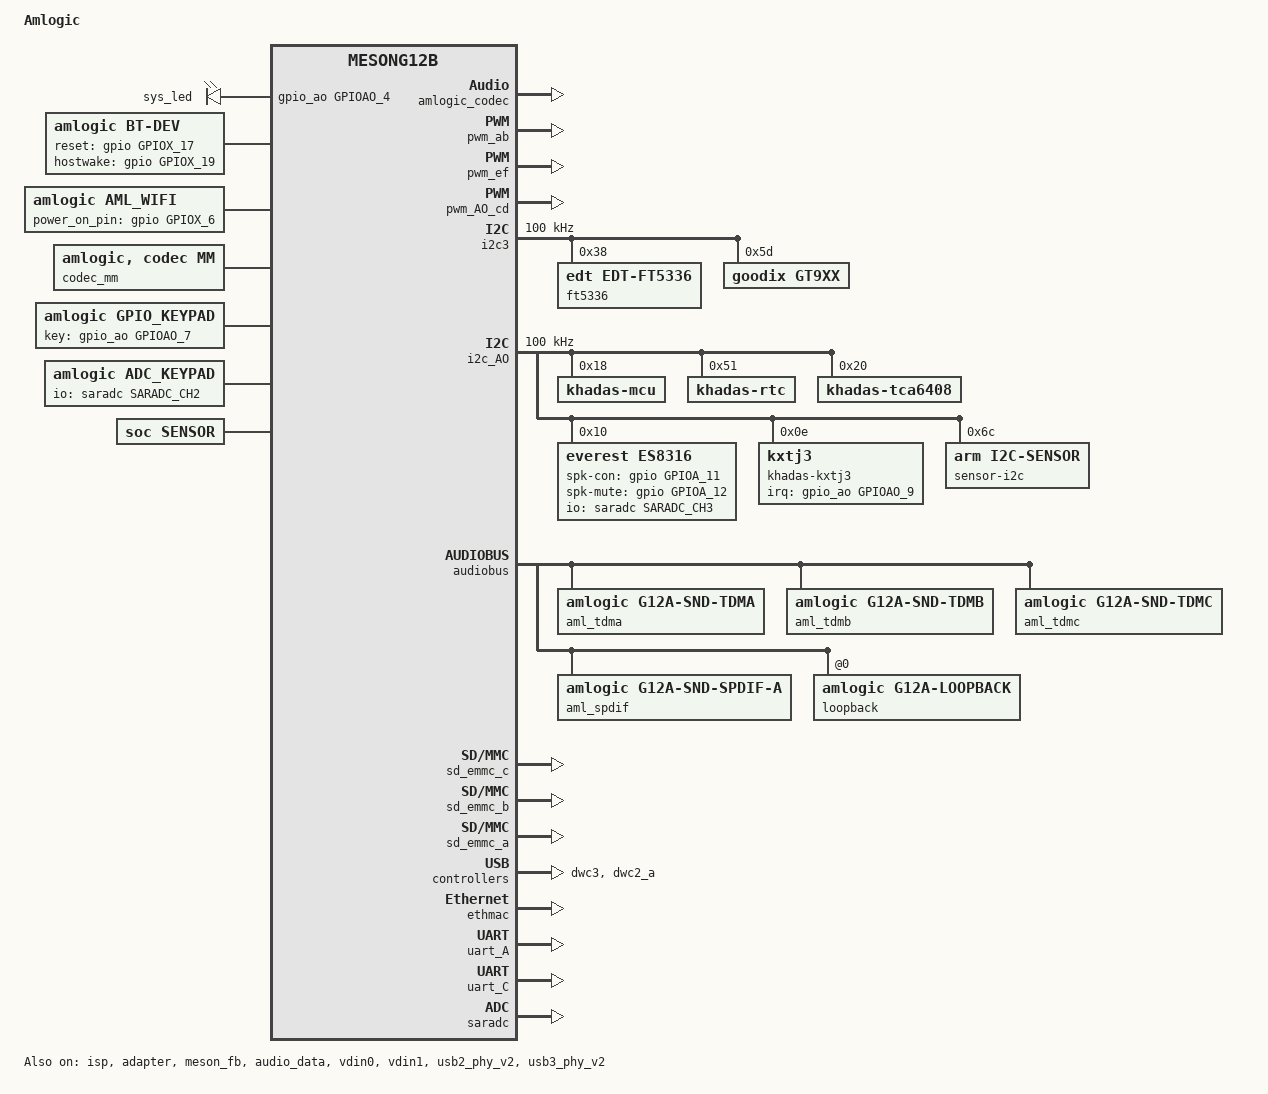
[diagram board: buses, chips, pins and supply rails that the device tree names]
/*
 * arch/arm64/boot/dts/amlogic/g12b_a311d_w400.dts
 *
 * Copyright (C) 2017 Amlogic, Inc. All rights reserved.
 *
 * This program is free software; you can redistribute it and/or modify
 * it under the terms of the GNU General Public License as published by
 * the Free Software Foundation; either version 2 of the License, or
 * (at your option) any later version.
 *
 * This program is distributed in the hope that it will be useful, but WITHOUT
 * ANY WARRANTY; without even the implied warranty of MERCHANTABILITY or
 * FITNESS FOR A PARTICULAR PURPOSE.  See the GNU General Public License for
 * more details.
 *
 */

/dts-v1/;

#include "partition_mbox_normal_P_64.dtsi"
#include "mesong12b.dtsi"
#include "mesong12b_skt-panel.dtsi"
/ {
	model = "Amlogic";
	amlogic-dt-id = "g12b_w400_b";
	compatible = "amlogic, g12b";
	interrupt-parent = <&gic>;
	#address-cells = <2>;
	#size-cells = <2>;

	aliases {
		serial0 = &uart_AO;
		serial1 = &uart_A;
		serial2 = &uart_B;
		serial3 = &uart_C;
		serial4 = &uart_AO_B;
		i2c0 = &i2c0;
		i2c1 = &i2c1;
		i2c2 = &i2c2;
		i2c3 = &i2c3;
		i2c4 = &i2c_AO;
		tsensor0 = &p_tsensor;
		tsensor1 = &d_tsensor;
	};

	reserved-memory {
		#address-cells = <2>;
		#size-cells = <2>;
		ranges;
		/* global autoconfigured region for contiguous allocations */
		ramoops@0x07400000 {
			compatible = "ramoops";
			reg = <0x0 0x07400000 0x0 0x00100000>;
			record-size = <0x8000>;
			console-size = <0x8000>;
			ftrace-size = <0x40000>;
		};

		secmon_reserved:linux,secmon {
			compatible = "shared-dma-pool";
			reusable;
			size = <0x0 0x400000>;
			alignment = <0x0 0x400000>;
			alloc-ranges = <0x0 0x05000000 0x0 0x400000>;
			clear-map;
		};

		secos_reserved:linux,secos {
			status = "disable";
			compatible = "amlogic, aml_secos_memory";
			reg = <0x0 0x05300000 0x0 0x2000000>;
			no-map;
		};
		logo_reserved:linux,meson-fb {
			compatible = "shared-dma-pool";
			reusable;
			size = <0x0 0x800000>;
			alignment = <0x0 0x400000>;
			alloc-ranges = <0x0 0x7f800000 0x0 0x800000>;
		};
		ion_cma_reserved:linux,ion-dev {
			compatible = "shared-dma-pool";
			reusable;
			size = <0x0 0x8000000>;
			alignment = <0x0 0x400000>;
		};

		//di_reserved:linux,di {
			//compatible = "amlogic, di-mem";
			/* buffer_size = 3621952(yuv422 8bit) */
			/* 4179008(yuv422 10bit full pack mode) */
			/** 10x3621952=34.6M(0x23) support 8bit **/
			/** 10x4736064=45.2M(0x2e) support 12bit **/
			/** 10x4179008=40M(0x28) support 10bit **/
			//size = <0x0 0x2800000>;
			//no-map;
		//};
		/*di CMA pool */
		di_cma_reserved:linux,di_cma {
			compatible = "shared-dma-pool";
			reusable;
			/* buffer_size = 3621952(yuv422 8bit)
			 *  | 4736064(yuv422 10bit)
			 *  | 4074560(yuv422 10bit full pack mode)
			 * 10x3621952=34.6M(0x23) support 8bit
			 * 10x4736064=45.2M(0x2e) support 12bit
			 * 10x4074560=40M(0x28) support 10bit
			 */
			size = <0x0 0x02800000>;
			alignment = <0x0 0x400000>;
		};
		/*  POST PROCESS MANAGER */
		ppmgr_reserved:linux,ppmgr {
			compatible = "shared-dma-pool";
			size = <0x0 0x0>;
		};

		codec_mm_cma:linux,codec_mm_cma {
			compatible = "shared-dma-pool";
			reusable;
			/* ion_codec_mm max can alloc size 80M*/
			size = <0x0 0x13400000>;
			alignment = <0x0 0x400000>;
			linux,contiguous-region;
			clear-map;
		};
		/* codec shared reserved */
		codec_mm_reserved:linux,codec_mm_reserved {
			compatible = "amlogic, codec-mm-reserved";
			size = <0x0 0x0>;
			alignment = <0x0 0x100000>;
			//no-map;
		};
		/*  vdin0 CMA pool */
		vdin0_cma_reserved:linux,vdin0_cma {
			compatible = "shared-dma-pool";
			reusable;
		/* 1920x1080x2x4  =16+4 M */
			size = <0x0 0x04000000>;
			alignment = <0x0 0x400000>;
		};
		/*  vdin1 CMA pool */
		vdin1_cma_reserved:linux,vdin1_cma {
			compatible = "shared-dma-pool";
			reusable;
			/* 1920x1080x2x4  =16 M */
			size = <0x0 0x04000000>;
			alignment = <0x0 0x400000>;
		};
		galcore_reserved:linux,galcore {
			compatible = "shared-dma-pool";
			reusable;
			size = <0x0 0x1000000>;
			alignment = <0x0 0x400000>;
			linux,contiguous-region;
		};
		isp_cma_reserved:linux,isp_cma {
			compatible = "shared-dma-pool";
			reusable;
			status = "okay";
			size = <0x0 0x8000000>;
			alignment = <0x0 0x400000>;
		};
		adapt_cma_reserved:linux,adapt_cma {
			compatible = "shared-dma-pool";
			reusable;
			status = "okay";
			size = <0x0 0x1800000>;
			alignment = <0x0 0x400000>;
		};
	};
	galcore {
		status = "okay";
		memory-region = <&galcore_reserved>;
	};

	gpioleds {
		compatible = "gpio-leds";
		status = "okay";
		sys_led {
			label="sys_led";
			gpios=<&gpio_ao GPIOAO_4 GPIO_ACTIVE_HIGH>;
			default-state ="on";
		};
	};

	cvbsout {
		compatible = "amlogic, cvbsout-g12b";
		dev_name = "cvbsout";
		status = "okay";
		clocks = <&clkc CLKID_VCLK2_ENCI
			&clkc CLKID_VCLK2_VENCI0
			&clkc CLKID_VCLK2_VENCI1
			&clkc CLKID_DAC_CLK>;
		clock-names = "venci_top_gate",
			"venci_0_gate",
			"venci_1_gate",
			"vdac_clk_gate";
		/* clk path */
		/* 0:vid_pll vid2_clk */
		/* 1:gp0_pll vid2_clk */
		/* 2:vid_pll vid1_clk */
		/* 3:gp0_pll vid1_clk */
		clk_path = <2>;

		/* performance: reg_address, reg_value */
		/* g12b */
		performance = <0x1bf0  0x9
			0x1b56  0x333
			0x1b12  0x8080
			0x1b05  0xfd
			0x1c59  0xf850
			0xffff  0x0>; /* ending flag */
		performance_sarft = <0x1bf0  0x9
			0x1b56  0x333
			0x1b12  0x0
			0x1b05  0x9
			0x1c59  0xfc48
			0xffff  0x0>; /* ending flag */
	};

	bt-dev{
		compatible = "amlogic, bt-dev";
		dev_name = "bt-dev";
		status = "okay";
		gpio_reset = <&gpio GPIOX_17 GPIO_ACTIVE_HIGH>;
		gpio_hostwake = <&gpio GPIOX_19 GPIO_ACTIVE_HIGH>;
	};

	wifi{
		compatible = "amlogic, aml_wifi";
		dev_name = "aml_wifi";
		status = "okay";
		interrupt_pin = <&gpio GPIOX_7 GPIO_ACTIVE_HIGH>;
		irq_trigger_type = "GPIO_IRQ_LOW";
		power_on_pin = <&gpio GPIOX_6 GPIO_ACTIVE_HIGH>;
		dhd_static_buf;	//if use bcm wifi, config dhd_static_buf
		pinctrl-names = "default";
		pinctrl-0 = <&pwm_e_pins>;
		pwm_config = <&wifi_pwm_conf>;
	};

	wifi_pwm_conf:wifi_pwm_conf{
		pwm_channel1_conf {
			pwms = <&pwm_ef MESON_PWM_0 30541 0>;
			duty-cycle = <15270>;
			times = <10>;
		};
		pwm_channel2_conf {
			pwms = <&pwm_ef MESON_PWM_2 30500 0>;
			duty-cycle = <15250>;
			times = <12>;
		};
	};

	picdec_cma_reserved:linux,picdec {
		compatible = "shared-dma-pool";
		reusable;
		size = <0x0>;
		alignment = <0x0>;
		linux,contiguous-region;
	};

	codec_mm {
		compatible = "amlogic, codec, mm";
		memory-region = <&codec_mm_cma &codec_mm_reserved>;
		dev_name = "codec_mm";
		status = "okay";
	};

	picdec {
		compatible = "amlogic, picdec";
		memory-region = <&picdec_cma_reserved>;
		dev_name = "picdec";
		status = "okay";
	};

	ppmgr {
		compatible = "amlogic, ppmgr";
		memory-region = <&ppmgr_reserved>;
		dev_name = "ppmgr";
		status = "okay";
	};

	deinterlace {
		compatible = "amlogic, deinterlace";
		status = "okay";
		/* 0:use reserved; 1:use cma; 2:use cma as reserved */
		flag_cma = <1>;
		//memory-region = <&di_reserved>;
		memory-region = <&di_cma_reserved>;
		interrupts = <0 46 1
				0 40 1>;
		interrupt-names = "pre_irq", "post_irq";
		clocks = <&clkc CLKID_VPU_CLKB_TMP_COMP>,
			<&clkc CLKID_VPU_CLKB_COMP>;
		clock-names = "vpu_clkb_tmp_composite",
			"vpu_clkb_composite";
		clock-range = <334 667>;
		/* buffer-size = <3621952>;(yuv422 8bit) */
		buffer-size = <4074560>;/*yuv422 fullpack*/
		/* reserve-iomap = "true"; */
		/* if enable nr10bit, set nr10bit-support to 1 */
		post-wr-support = <1>;
		nr10bit-support = <1>;
		nrds-enable = <1>;
		pps-enable = <1>;
	};
	ionvideo {
		compatible = "amlogic, ionvideo";
		dev_name = "ionvideo";
		status = "okay";
	};

	amlvideo2_0 {
		compatible = "amlogic, amlvideo2";
		dev_name = "amlvideo2";
		status = "okay";
		amlvideo2_id = <0>;
		cma_mode = <1>;
	};

	amlvideo2_1 {
		compatible = "amlogic, amlvideo2";
		dev_name = "amlvideo2";
		status = "okay";
		amlvideo2_id = <1>;
		cma_mode = <1>;
	};

	gpio_keypad {
		compatible = "amlogic, gpio_keypad";
		status = "okay";
		scan_period = <20>;
		key_num = <1>;
		key_name = "power";
		key_code = <116>;
		key-gpios = <&gpio_ao  GPIOAO_7  GPIO_ACTIVE_HIGH>;
		detect_mode = <0>;/*0:polling mode, 1:irq mode*/
	};

	adc_keypad {
		compatible = "amlogic, adc_keypad";
		status = "okay";
		key_name = "home";
		key_num = <1>;
		io-channels = <&saradc SARADC_CH2>;
		io-channel-names = "key-chan-2";
		key_chan = <SARADC_CH2 SARADC_CH2 SARADC_CH2>;
		key_code = <102>;
		key_val = <108>;//val=voltage/1800mV*1023
		key_tolerance = <40>;
	};
        
        khadas-hwver {
                compatible = "khadas-hwver";
                tca6408status = "okay";
        };

        khadas-redled {
               compatible = "khadas-redled";
               status = "okay";
        };

	unifykey{
		compatible = "amlogic, unifykey";
		status = "ok";
		unifykey-num = <18>;
		unifykey-index-0 = <&keysn_0>;
		unifykey-index-1 = <&keysn_1>;
		unifykey-index-2 = <&keysn_2>;
		unifykey-index-3 = <&keysn_3>;
		unifykey-index-4 = <&keysn_4>;
		unifykey-index-5 = <&keysn_5>;
		unifykey-index-6 = <&keysn_6>;
		unifykey-index-7 = <&keysn_7>;
		unifykey-index-8 = <&keysn_8>;
		unifykey-index-9 = <&keysn_9>;
		unifykey-index-10= <&keysn_10>;
		unifykey-index-11= <&keysn_11>;
		unifykey-index-12= <&keysn_12>;
		unifykey-index-13= <&keysn_13>;
		unifykey-index-14= <&keysn_14>;
		unifykey-index-15= <&keysn_15>;
		unifykey-index-16= <&keysn_16>;
                unifykey-index-17= <&keysn_17>;

		keysn_0: key_0{
			key-name = "usid";
			key-device = "normal";
			key-permit = "read","write","del";
		};
		keysn_1:key_1{
			key-name = "mac";
			key-device = "normal";
			key-permit = "read","write","del";
		};
		keysn_2:key_2{
			key-name = "hdcp";
			key-device = "secure";
			key-type = "sha1";
			key-permit = "read","write","del";
		};
		keysn_3:key_3{
			key-name = "secure_boot_set";
			key-device = "efuse";
			key-permit = "write";
		};
		keysn_4:key_4{
			key-name = "mac_bt";
			key-device = "normal";
			key-permit = "read","write","del";
			key-type  = "mac";
		};
		keysn_5:key_5{
			key-name = "mac_wifi";
			key-device = "normal";
			key-permit = "read","write","del";
			key-type = "mac";
		};
		keysn_6:key_6{
			key-name = "hdcp2_tx";
			key-device = "normal";
			key-permit = "read","write","del";
		};
		keysn_7:key_7{
			key-name = "hdcp2_rx";
			key-device = "normal";
			key-permit = "read","write","del";
		};
		keysn_8:key_8{
			key-name = "widevinekeybox";
			key-device = "secure";
			key-permit = "read","write","del";
		};
		keysn_9:key_9{
			key-name = "deviceid";
			key-device = "normal";
			key-permit = "read","write","del";
		};
		keysn_10:key_10{
			key-name = "hdcp22_fw_private";
			key-device = "secure";
			key-permit = "read","write","del";
		};
		keysn_11:key_11{
			key-name = "PlayReadykeybox25";
			key-device = "secure";
			key-permit = "read","write","del";
		};
		keysn_12:key_12{
			key-name = "prpubkeybox";// PlayReady
			key-device = "secure";
			key-permit = "read","write","del";
		};
		keysn_13:key_13{
			key-name = "prprivkeybox";// PlayReady
			key-device = "secure";
			key-permit = "read","write","del";
		};
		keysn_14:key_14{
			key-name = "attestationkeybox";// attestation key
			key-device = "secure";
			key-permit = "read","write","del";
		};
		keysn_15:key_15{
			key-name = "netflix_mgkid";
			key-device = "secure";
			key-permit = "read","write","del";
		};
		keysn_16:key_16{
			key-name = "attestationdevidbox";// attest dev id box
			key-device = "secure";
			key-permit = "read","write","del";
		};
                keysn_17:key_17{
                        key-name = "eth_exphy_para";
                        key-device = "normal";
                        key-permit = "read","write","del";
                };
	};//End unifykey

	efusekey:efusekey{
		keynum = <1>;
		key0 = <&key_0>;
		key_0:key_0{
			keyname = "mac";
			offset = <0>;
			size = <12>;
		};
	};//End efusekey

	amlvecm {
		compatible = "amlogic, vecm";
		dev_name = "aml_vecm";
		status = "okay";
		gamma_en = <1>;/*1:enabel ;0:disable*/
		wb_en = <0>;/*1:enabel ;0:disable*/
		cm_en = <0>;/*1:enabel ;0:disable*/

		interrupts = <0 56 1>;
		interrupt-names = "vsync2";
	};
	amdolby_vision {
		compatible = "amlogic, dolby_vision_g12a";
		dev_name = "aml_amdolby_vision_driver";
		status = "okay";
		tv_mode = <0>;/*1:enabel ;0:disable*/
	};

	/* Audio Related start */
	pdm_codec:dummy{
		#sound-dai-cells = <0>;
		compatible = "amlogic, pdm_dummy_codec";
		status = "okay";
	};
	dummy_codec:dummy{
		#sound-dai-cells = <0>;
		compatible = "amlogic, aml_dummy_codec";
		status = "okay";
	};
	amlogic_codec:t9015{
		#sound-dai-cells = <0>;
		compatible = "amlogic, aml_codec_T9015";
		reg = <0x0 0xFF632000 0x0 0x2000>;
		is_auge_used = <1>; /* meson or auge chipset used */
		tdmout_index = <1>;
		status = "okay";
	};
	audio_effect:eqdrc{
		/*eq_enable = <1>;*/
		/*drc_enable = <1>;*/
		/*
		 * 0:tdmout_a
		 * 1:tdmout_b
		 * 2:tdmout_c
		 * 3:spdifout
		 * 4:spdifout_b
		 */
		eqdrc_module = <1>;
		/* max 0xf, each bit for one lane, usually one lane */
		lane_mask = <0x1>;
		/* max 0xff, each bit for one channel */
		channel_mask = <0x3>;
	};
	auge_sound {
		compatible = "amlogic, g12a-sound-card";
		aml-audio-card,name = "AML-AUGESOUND";


		//aml-audio-card,aux-devs = <&amlogic_codec>;
		/*for audio effect ,eqdrc */
		aml-audio-card,effect = <&audio_effect>;

		aml-audio-card,dai-link@0 {
			format = "dsp_a";
			mclk-fs = <512>;
			//continuous-clock;
			//bitclock-inversion;
			//frame-inversion;
			//bitclock-master = <&tdmacodec>;
			//frame-master = <&tdmacodec>;
			/* suffix-name, sync with android audio hal
			 * what's the dai link used for
			 */
			suffix-name = "alsaPORT-pcm";
			tdmacpu: cpu {
				sound-dai = <&aml_tdma>;
				dai-tdm-slot-tx-mask =
							<1 0 0 0 0 0 0 0>;
				dai-tdm-slot-rx-mask =
							<1 0 0 0 0 0 0 0>;
				dai-tdm-slot-num = <8>;
				dai-tdm-slot-width = <32>;
				system-clock-frequency = <24576000>;
			};
			tdmacodec: codec {
				sound-dai = <&dummy_codec &dummy_codec>;
			};
		};

		aml-audio-card,dai-link@1 {
			format = "i2s";
			mclk-fs = <256>;
			continuous-clock;
			//bitclock-inversion;
			//frame-inversion;
			bitclock-master = <&aml_tdmb>;
			frame-master = <&aml_tdmb>;
			//bitclock-master = <&tdmbcodec>;
			//frame-master = <&tdmbcodec>;
			/* suffix-name, sync with android audio hal
			 * what's the dai link used for
			 */
			suffix-name = "alsaPORT-i2s";
			cpu {
				sound-dai = <&aml_tdmb>;
				dai-tdm-slot-tx-mask = <1 1>;
				dai-tdm-slot-rx-mask = <1 1>;
				dai-tdm-slot-num = <2>;
				dai-tdm-slot-width = <32>;
				system-clock-frequency = <12288000>;
			};
			tdmbcodec: codec {
				sound-dai = <&dummy_codec &dummy_codec
				&amlogic_codec &es8316>;
			};
		};

		aml-audio-card,dai-link@2 {
			format = "i2s";
			mclk-fs = <256>;
			//continuous-clock;
			//bitclock-inversion;
			//frame-inversion;
			bitclock-master = <&aml_tdmc>;
			frame-master = <&aml_tdmc>;
			/* suffix-name, sync with android audio hal
			 * what's the dai link used for
			 */
			//suffix-name = "alsaPORT-tdm";
			cpu {
				sound-dai = <&aml_tdmc>;
				dai-tdm-slot-tx-mask = <1 1>;
				dai-tdm-slot-rx-mask = <1 1>;
				dai-tdm-slot-num = <2>;
				dai-tdm-slot-width = <32>;
				system-clock-frequency = <12288000>;
			};
			codec {
				sound-dai = <&dummy_codec &dummy_codec>;
			};
		};

		aml-audio-card,dai-link@3 {
			mclk-fs = <128>;
			continuous-clock;
			/* suffix-name, sync with android audio hal
			 * what's the dai link used for
			 */
			suffix-name = "alsaPORT-spdif";
			cpu {
				sound-dai = <&aml_spdif>;
				system-clock-frequency = <6144000>;
			};
			codec {
				sound-dai = <&dummy_codec>;
			};
		};
		aml-audio-card,dai-link@4 {
			mclk-fs = <256>;
			continuous-clock;
			suffix-name = "alsaPORT-loopback";
			cpu {
				sound-dai = <&loopback>;
				system-clock-frequency = <12288000>;
			};
			codec {
				sound-dai = <&dummy_codec>;
			};
		};
	};
	audiolocker: locker {
		compatible = "amlogic, audiolocker";
		clocks = <&clkaudio CLKID_AUDIO_LOCKER_OUT
				&clkaudio CLKID_AUDIO_LOCKER_IN
				&clkaudio CLKID_AUDIO_MCLK_D
				&clkaudio CLKID_AUDIO_MCLK_E
				&clkc CLKID_MPLL1
				&clkc CLKID_MPLL2>;
		clock-names = "lock_out", "lock_in", "out_src",
					"in_src", "out_calc", "in_ref";
		interrupts = <GIC_SPI 1 IRQ_TYPE_EDGE_RISING>;
		interrupt-names = "irq";
		frequency = <49000000>; /* pll */
		dividor = <49>; /* locker's parent */
		status = "okay";
	};
	/* Audio Related end */

	cpu_opp_table0: cpu_opp_table0 {
		compatible = "operating-points-v2";
		opp-shared;

		opp00 {
			opp-hz = /bits/ 64 <500000000>;
			opp-microvolt = <770000>;
		};
		opp01 {
			opp-hz = /bits/ 64 <667000000>;
			opp-microvolt = <770000>;
		};
		opp02 {
			opp-hz = /bits/ 64 <1000000000>;
			opp-microvolt = <770000>;
		};
		opp03 {
			opp-hz = /bits/ 64 <1200000000>;
			opp-microvolt = <770000>;
		};
		opp04 {
			opp-hz = /bits/ 64 <1398000000>;
			opp-microvolt = <800000>;
		};
		opp05 {
			opp-hz = /bits/ 64 <1512000000>;
			opp-microvolt = <840000>;
		};
		opp06 {
			opp-hz = /bits/ 64 <1608000000>;
			opp-microvolt = <880000>;
		};
		opp07 {
			opp-hz = /bits/ 64 <1704000000>;
			opp-microvolt = <910000>;
		};
	};

	cpu_opp_table1: cpu_opp_table1 {
		compatible = "operating-points-v2";
		opp-shared;

		opp00 {
			opp-hz = /bits/ 64 <500000000>;
			opp-microvolt = <790000>;
		};
		opp01 {
			opp-hz = /bits/ 64 <667000000>;
			opp-microvolt = <790000>;
		};
		opp02 {
			opp-hz = /bits/ 64 <1000000000>;
			opp-microvolt = <810000>;
		};
		opp03 {
			opp-hz = /bits/ 64 <1200000000>;
			opp-microvolt = <810000>;
		};
		opp04 {
			opp-hz = /bits/ 64 <1398000000>;
			opp-microvolt = <830000>;
		};
		opp05 {
			opp-hz = /bits/ 64 <1512000000>;
			opp-microvolt = <870000>;
		};
		opp06 {
			opp-hz = /bits/ 64 <1608000000>;
			opp-microvolt = <910000>;
		};
		opp07 {
			opp-hz = /bits/ 64 <1704000000>;
			opp-microvolt = <940000>;
		};
	};

	cpufreq-meson {
		compatible = "amlogic, cpufreq-meson";
		status = "okay";
	};

	sensor: sensor {
		compatible = "soc, sensor";
		status = "okay";
		sensor_name = "os08a10"; /*os08a10;imx415*/
		pinctrl-names="default";
		pinctrl-0=<&gen_clk_ee_ao>;
		clocks = <&clkc CLKID_GEN_CLK>;
		clock-names = "gen_clk";
	};

	iq: iq {
		compatible = "soc, iq";
		status = "okay";
		sensor_name = "os08a10"; /*os08a10;imx415*/
	};
}; /* end of / */

&isp {
	status = "okay";
	temper-line-offset = <0x1E00>;
	temper-buf-size = <32>;
	temper-frame-num = <1>;
	temper-frame-size = <0x1FA4000>;
	memory-region = <&isp_cma_reserved>;
};

&adapter {
	status = "okay";
	mem_alloc = <24>;
	memory-region = <&adapt_cma_reserved>;
};

&meson_fb {
	status = "okay";
	display_size_default = <1080 1920 1080 3840 32>;
	mem_size = <0x00800000 0x1980000 0x100000 0x100000 0x800000>;
	logo_addr = "0x7f800000";
	mem_alloc = <0>;
	pxp_mode = <0>; /** 0:normal mode 1:pxp mode */
};

&pwm_ab {
		status = "okay";
	};

&pwm_ef {
		status = "okay";
	};

&pwm_AO_cd {
		status = "okay";
	};

&i2c3 {
        status = "okay";
        pinctrl-names="default";
        pinctrl-0=<&i2c3_master_pins2>;
        clock-frequency = <100000>; /* default 100k */

        ft5336@38 {
               compatible = "edt,edt-ft5336", "ft5x06";
               reg = <0x38>;
               interrupt_pin = <&gpio GPIOA_5 GPIO_ACTIVE_HIGH>;
               reset_pin = <6>;
               status = "okay";
       };

		gt9xx@5d {
			compatible = "goodix,gt9xx";
			status = "okay";
			reg = <0x5d>;
			reset_pin = <6>;
			tp-size = <89>;
			rotation = <1>;
			goodix,cfg-group0 = [
				00 80 07 B0 04 0A 3D 00 01 08 28
				05 3C 3C 03 05 00 00 00 00 23 13
				00 17 19 1C 13 90 30 AA 17 15 31
				0D 00 00 01 9B 03 2C 00 00 00 00
				00 00 00 00 00 00 00 0F 23 94 D0
				02 07 00 00 04 A3 10 00 8C 13 00
				7B 16 00 69 1B 00 5B 20 00 5B 00
				00 00 00 00 00 00 00 00 00 00 00
				00 00 00 00 00 00 00 00 00 00 00
				00 00 00 00 00 00 00 00 00 00 00
				00 00 00 01 04 05 06 07 08 09 0C
				0D 0E 0F 10 11 14 15 16 17 18 19
				FF FF FF FF FF FF FF FF FF FF 00
				02 04 06 07 08 0A 0C 0D 0E 0F 10
				11 12 13 14 19 1B 1C 1E 1F 20 21
				22 23 24 25 26 27 28 29 2A FF FF
				FF FF FF FF FF FF FF FF 8F 01];
		};

	   bq25703 {
                 compatible = "bq25703";
                reg = <0x6b>;
                irq-gpio = <&gpio GPIOZ_15 IRQ_TYPE_LEVEL_LOW>;
                ti,charge-current = <1500000>;
                ti,max-charge-voltage = <8500000>;
                ti,max-input-voltage = <20000000>;
                ti,max-input-current = <6000000>;
                ti,input-current-sdp = <500000>;
                ti,input-current-dcp = <2000000>;
                ti,input-current-cdp = <2000000>;
                ti,input-current-dc = <2000000>;
                ti,minimum-sys-voltage = <7400000>;
                ti,otg-voltage = <5000000>;
                ti,otg-current = <500000>;
                ti,input-current = <500000>;
                pd-charge-only = <0>;
                status = "disabled";
        };

       cw201x {
                status = "disabled";
                compatible = "cw201x";
                reg = <0x62>;
                bat_config_info = <0x15 0x7F 0x6E 0x66 0x65 0x5C 0x5B 0x59
                                0x58 0x57 0x57 0x54 0x53 0x51 0x4B 0x48
                                0x40 0x33 0x2A 0x26 0x23 0x25 0x2A 0x34
                                0x45 0x4F 0x0C 0xCD 0x44 0x68 0x67 0x68
                                0x6E 0x6F 0x6C 0x68 0x3A 0x10 0x8A 0x01
                                0x01 0x54 0x52 0x87 0x8F 0x91 0x94 0x52
                                0x82 0x8C 0x92 0x96 0x82 0xFF 0xFF 0xCB
                                0x2F 0x7D 0x64 0xA5 0xB5 0x13 0x58 0x09>;
                monitor_sec = <5>;
                virtual_power = <0>;
                divider_res1 = <200>;
                divider_res2 = <200>;
        };

};


&i2c_AO {
       status = "okay";
       pinctrl-names="default";
       pinctrl-0=<&ao_i2c_master_pins1>;
       clock-frequency = <100000>; /* default 100k */
       khadas-mcu {
               compatible = "khadas-mcu";
               reg = <0x18>;
               fan,trig_temp_level0 = <50>;
               fan,trig_temp_level1 = <60>;
               fan,trig_temp_level2 = <65>;
               fan,trig_temp_level3 = <70>;
               hwver = "VIM3.V11";
       };
       khadas-rtc {
                compatible = "khadas-rtc";
                reg = <0x51>;
       };

       khadas-tca6408 {
                compatible = "khadas-tca6408";
                reg = <0x20>;
       };
	   es8316: es8316@10 {
                compatible = "everest,es8316";
                #sound-dai-cells = <0>;
                reg = <0x10>;
                status = "okay";
                spk-con-gpio = <&gpio GPIOA_11 0>;
                spk-mute-gpio = <&gpio GPIOA_12 0>;
                io-channels = <&saradc SARADC_CH3>;
                hp_chan = <SARADC_CH3>;
                hp_val = <784>; //val=voltage/1800mV*1023
                hp_tolerance = <50>;
        };
       khadas-kxtj3 {
                compatible = "kxtj3";
                reg = <0x0E>;
                type = <2>;
                layout = <4>;
                irq_enable = <0>;
                poll_delay_ms = <30>;
                irq-gpio = <&gpio_ao GPIOAO_9 IRQ_TYPE_EDGE_RISING>;
                status = "okay";
        };
	sensor-i2c@6c {
		compatible = "arm, i2c-sensor";
		reg = <0x6c>;
		reg-names = "i2c-sensor";
		slave-addr = <0x6c>;
		reg-type = <2>;
		reg-data-type = <1>;
		link-device = <&phycsi>;
	};
};

&audiobus {
	aml_tdma: tdma {
		compatible = "amlogic, g12a-snd-tdma";
		#sound-dai-cells = <0>;
		dai-tdm-lane-slot-mask-in = <0 1>;
		dai-tdm-lane-oe-slot-mask-out = <1 0>;
		dai-tdm-clk-sel = <0>;
		clocks = <&clkaudio CLKID_AUDIO_MCLK_A
				&clkc CLKID_MPLL0>;
		clock-names = "mclk", "clk_srcpll";
		pinctrl-names = "tdm_pins";
		pinctrl-0 = <&tdmout_a &tdmin_a>;
	};

	aml_tdmb: tdmb {
		compatible = "amlogic, g12a-snd-tdmb";
		#sound-dai-cells = <0>;
		dai-tdm-lane-slot-mask-in = <0 1 0 0>;
		dai-tdm-lane-slot-mask-out = <1 0 0 0>;
		dai-tdm-clk-sel = <1>;
		clocks = <&clkaudio CLKID_AUDIO_MCLK_B
				&clkc CLKID_MPLL1
				&clkc CLKID_MPLL0
				&clkaudio CLKID_AUDIO_SPDIFOUT_CTRL>;
		clock-names = "mclk", "clk_srcpll",
			"samesource_srcpll", "samesource_clk";
		pinctrl-names = "tdm_pins";
		pinctrl-0 = <&tdmb_mclk &tdmout_b &tdmin_b>;
		mclk_pad = <0>;  /* 0: mclk_0; 1: mclk_1 */
		/*
		 * 0: tdmout_a;
		 * 1: tdmout_b;
		 * 2: tdmout_c;
		 * 3: spdifout;
		 * 4: spdifout_b;
		 */
		samesource_sel = <3>;
	};

	aml_tdmc: tdmc {
		compatible = "amlogic, g12a-snd-tdmc";
		#sound-dai-cells = <0>;
		dai-tdm-lane-slot-mask-in = <1 0 0 0>;
		#dai-tdm-lane-slot-mask-out = <1 0 1 1>;
		#dai-tdm-lane-oe-slot-mask-in = <0 0 0 0>;
		#dai-tdm-lane-oe-slot-mask-out = <1 0 0 0>;
		dai-tdm-clk-sel = <2>;
		clocks = <&clkaudio CLKID_AUDIO_MCLK_C
				&clkc CLKID_MPLL2>;
		clock-names = "mclk", "clk_srcpll";
		pinctrl-names = "tdm_pins";
		pinctrl-0 = <&tdmc_mclk &tdmout_c &tdmin_c>;
		mclk_pad = <1>;  /* 0: mclk_0; 1: mclk_1 */
	};

	tdmlb: tdm@3 {
		compatible = "amlogic, g12a-snd-tdmlb";
		#sound-dai-cells = <0>;
		dai-tdm-lane-lb-slot-mask-in = <1 0 0 0>;
		dai-tdm-clk-sel = <1>;
		clocks = <&clkaudio CLKID_AUDIO_MCLK_B
				&clkc CLKID_MPLL1>;
		clock-names = "mclk", "clk_srcpll";
		/*
		 * select tdmin_lb src;
		 *0: TDMOUTA
		 *1: TDMOUTB
		 *2: TDMOUTC
		 *3: PAD_TDMINA
		 *4: PAD_TDMINB
		 *5: PAD_TDMINC
		 */
		lb-src-sel = <1>;

		status = "disabled";
	};

	aml_spdif: spdif {
		compatible = "amlogic, g12a-snd-spdif-a";
		#sound-dai-cells = <0>;
		clocks = <&clkc CLKID_MPLL0
				&clkc CLKID_FCLK_DIV4
				&clkaudio CLKID_AUDIO_SPDIFIN
				&clkaudio CLKID_AUDIO_SPDIFOUT
				&clkaudio CLKID_AUDIO_SPDIFIN_CTRL
				&clkaudio CLKID_AUDIO_SPDIFOUT_CTRL>;
		clock-names = "sysclk", "fixed_clk", "gate_spdifin",
				"gate_spdifout", "clk_spdifin", "clk_spdifout";
		interrupts =
				<GIC_SPI 151 IRQ_TYPE_EDGE_RISING>;

		interrupt-names = "irq_spdifin";
		pinctrl-names = "spdif_pins",
					"spdif_pins_mute";
		pinctrl-0 = <&spdifout>;
		pinctrl-1 = <&spdifout_a_mute>;
		status = "okay";
	};
	aml_spdif_b: spdif_b {
		compatible = "amlogic, g12a-snd-spdif-b";
		#sound-dai-cells = <0>;
		clocks = <&clkc CLKID_MPLL0 /*CLKID_HIFI_PLL*/
				&clkaudio CLKID_AUDIO_SPDIFOUTB
				&clkaudio CLKID_AUDIO_SPDIFOUTB_CTRL>;
		clock-names = "sysclk",
				"gate_spdifout", "clk_spdifout";
		status = "disabled";
	};
	aml_pdm: pdm {
		compatible = "amlogic, g12a-snd-pdm";
		#sound-dai-cells = <0>;
		clocks = <&clkaudio CLKID_AUDIO_PDM
			&clkc CLKID_FCLK_DIV3
			&clkc CLKID_MPLL3
			&clkaudio CLKID_AUDIO_PDMIN0
			&clkaudio CLKID_AUDIO_PDMIN1>;
		clock-names = "gate",
			"sysclk_srcpll",
			"dclk_srcpll",
			"pdm_dclk",
			"pdm_sysclk";
		pinctrl-names = "pdm_pins";
		pinctrl-0 = <&pdmin>;
		filter_mode = <1>; /* mode 0~4, defalut:1 */
		status = "disable";
	};

	loopback:loopback@0 {
		compatible = "amlogic, g12a-loopback";
		#sound-dai-cells = <0>;

		clocks = <&clkaudio CLKID_AUDIO_PDM
			&clkc CLKID_FCLK_DIV3
			&clkc CLKID_MPLL3
			&clkaudio CLKID_AUDIO_PDMIN0
			&clkaudio CLKID_AUDIO_PDMIN1
			&clkc CLKID_MPLL0
			&clkaudio CLKID_AUDIO_MCLK_A>;
		clock-names = "pdm_gate",
			"pdm_sysclk_srcpll",
			"pdm_dclk_srcpll",
			"pdm_dclk",
			"pdm_sysclk",
			"tdminlb_mpll",
			"tdminlb_mclk";

		/* datain src
		 * 0: tdmin_a;
		 * 1: tdmin_b;
		 * 2: tdmin_c;
		 * 3: spdifin;
		 * 4: pdmin;
		 */
		datain_src = <4>;
		datain_chnum = <4>;
		datain_chmask = <0xf>;
		/* config which data pin for loopback */
		datain-lane-mask-in = <1 0 1 0>;

		/* calc mclk for datalb */
		mclk-fs = <256>;

		/* tdmin_lb src
		 * 0: tdmoutA
		 * 1: tdmoutB
		 * 2: tdmoutC
		 * 3: PAD_TDMINA_DIN*, refer to core pinmux
		 * 4: PAD_TDMINB_DIN*, refer to core pinmux
		 * 5: PAD_TDMINC_DIN*, refer to core pinmux
		 * 6: PAD_TDMINA_D*, oe, refer to core pinmux
		 * 7: PAD_TDMINB_D*, oe, refer to core pinmux
		 */
		/* if tdmin_lb >= 3, use external loopback */
		datalb_src = <1>;
		datalb_chnum = <2>;
		datalb_chmask = <0x3>;
		/* config which data pin as loopback */
		datalb-lane-mask-in = <1 0 0 0>;

		status = "okay";
	};

	audioresample: resample {
		compatible = "amlogic, g12a-resample";
		clocks = <&clkc CLKID_MPLL3
				&clkaudio CLKID_AUDIO_MCLK_F
				&clkaudio CLKID_AUDIO_RESAMPLE_CTRL>;
		clock-names = "resample_pll", "resample_src", "resample_clk";
		/*same with toddr_src
		 *	TDMIN_A, 0
		 *	TDMIN_B, 1
		 *	TDMIN_C, 2
		 *	SPDIFIN, 3
		 *	PDMIN,  4
		 *	NONE,
		 *	TDMIN_LB, 6
		 *	LOOPBACK, 7
		 */
		resample_module = <4>;
		status = "disabled";
	};
	aml_pwrdet: pwrdet {
		compatible = "amlogic, g12a-power-detect";

		interrupts = <GIC_SPI 155 IRQ_TYPE_EDGE_RISING>;
		interrupt-names = "pwrdet_irq";

		/* pwrdet source sel
		 * 7: loopback;
		 * 6: tdmin_lb;
		 * 5: reserved;
		 * 4: pdmin;
		 * 3: spdifin;
		 * 2: tdmin_c;
		 * 1: tdmin_b;
		 * 0: tdmin_a;
		 */
		pwrdet_src = <4>;

		hi_th = <0x70000>;
		lo_th = <0x16000>;

		status = "disabled";
	};
}; /* end of audiobus */

&pinctrl_periphs {
	tdmout_a: tdmout_a {
		mux { /* GPIOX_11, GPIOX_10, GPIOX_9 */
			groups = "tdma_sclk",
				"tdma_fs",
				"tdma_dout0";
			function = "tdma_out";
		};
	};

	tdmin_a: tdmin_a {
		mux { /* GPIOX_8 */
			groups = "tdma_din1";
			function = "tdma_in";
		};
	};

	tdmb_mclk: tdmb_mclk {
		mux {
			groups = "mclk0_a";
			function = "mclk0";
			drive-strength = <2>;
		};
	};
	tdmout_b: tdmout_b {
		mux { /* GPIOA_1, GPIOA_2, GPIOA_3 */
			groups = "tdmb_sclk",
				"tdmb_fs",
				"tdmb_dout0";
			function = "tdmb_out";
			drive-strength = <2>;
		};
	};

	tdmin_b:tdmin_b {
		mux { /* GPIOA_4 */
			groups = "tdmb_din1"
				/*,"tdmb_slv_sclk", "tdmb_slv_fs"*/;
			function = "tdmb_in";
			drive-strength = <2>;
		};
	};

	tdmc_mclk: tdmc_mclk {
		mux { /* GPIOA_11 */
			groups = "mclk1_a";
			function = "mclk1";
		};
	};

	tdmout_c:tdmout_c {
		mux { /* GPIOA_12, GPIOA_13, GPIOA_8, GPIOA_7*/
			groups = "tdmc_sclk_a",
				"tdmc_fs_a",
				"tdmc_dout0_a"
				/*,	"tdmc_dout2",
				 * "tdmc_dout3"
				 */;
			function = "tdmc_out";
		};
	};

	tdmin_c:tdmin_c {
		mux { /* GPIOA_10 */
			groups = "tdmc_din0_a";
			function = "tdmc_in";
		};
	};

	spdifin: spdifin {
		mux {/* GPIOH_5 */
			groups = "spdif_in_h";
			function = "spdif_in";
		};
	};

	pdmin: pdmin {
		mux { /* gpioa_5, gpioa_6, gpioa_7, gpioa_8, gpioa_9*/
			groups = "pdm_din0_a",
			/*"pdm_din1_a",*/
			"pdm_din2_a",
			/*"pdm_din3_a",*/
			"pdm_dclk_a";
			function = "pdm";
		};
	};

	clk12_24_z_pins:clk12_24_z_pins {
		mux {
			groups = "clk12_24_z";
			function = "clk12_24_ee";
			drive-strength = <3>;
		};
	};
}; /* end of pinctrl_periphs */

&pinctrl_aobus {
	spdifout: spdifout {
		mux { /* gpioao_10 */
			groups = "spdif_out_ao";
			function = "spdif_out_ao";
		};
	};

	spdifout_a_mute: spdifout_a_mute {
		mux { /* gpioao_10 */
			groups = "GPIOAO_10";
			function = "gpio_aobus";
		};
	};
        bl_pwm_off_pins:bl_pwm_off_pin {
                mux {
                        pins = "GPIOAO_6";
                        function = "gpio_aobus";
                        output-low;
                };
        };

	gen_clk_ee_ao: gen_clk_ee_ao {
		mux {
			groups="gen_clk_ee_ao";
			function="gen_clk_ee_ao";
			drive-strength = <3>;
		};
	};
};  /* end of pinctrl_aobus */

&irblaster {
	status = "disabled";
};

&gpu {
       tbl = <&dvfs285_cfg
               &dvfs400_cfg
               &dvfs500_cfg
               &dvfs666_cfg
               &dvfs800_cfg
               &dvfs800_cfg>;
};

&audio_data {
	status = "okay";
};

/*if you want to use vdin just modify status to "ok"*/
&vdin0 {
	memory-region = <&vdin0_cma_reserved>;
	status = "okay";
	/*vdin write mem color depth support:
	 *bit0:support 8bit
	 *bit1:support 9bit
	 *bit2:support 10bit
	 *bit3:support 12bit
	 *bit4:support yuv422 10bit full pack mode (from txl new add)
	 */
	tv_bit_mode = <0x15>;
};
&vdin1 {
	memory-region = <&vdin1_cma_reserved>;
	status = "okay";
	/*vdin write mem color depth support:
	 *bit0:support 8bit
	 *bit1:support 9bit
	 *bit2:support 10bit
	 *bit3:support 12bit
	 */
	tv_bit_mode = <1>;
};

&sd_emmc_c {
	status = "okay";
	emmc {
		caps = "MMC_CAP_8_BIT_DATA",
			 "MMC_CAP_MMC_HIGHSPEED",
			 "MMC_CAP_SD_HIGHSPEED",
			 "MMC_CAP_NONREMOVABLE",
			/* "MMC_CAP_1_8V_DDR", */
			 "MMC_CAP_HW_RESET",
			 "MMC_CAP_ERASE",
			 "MMC_CAP_CMD23",
			 "MMC_CAP_DRIVER_TYPE_A";
		caps2 = "MMC_CAP2_HS200", "MMC_CAP2_HS400";
		f_min = <400000>;
		f_max = <200000000>;
	};
};

&sd_emmc_b {
	status = "okay";
	sd {
		caps = "MMC_CAP_4_BIT_DATA",
			 "MMC_CAP_MMC_HIGHSPEED",
			 "MMC_CAP_SD_HIGHSPEED";
		f_min = <400000>;
		f_max = <50000000>;
	};
};

&sd_emmc_a {
	status = "okay";
	sdio {
		caps = "MMC_CAP_4_BIT_DATA",
			 "MMC_CAP_MMC_HIGHSPEED",
			 "MMC_CAP_SD_HIGHSPEED",
			 "MMC_CAP_NONREMOVABLE",
			 "MMC_CAP_UHS_SDR12",
			 "MMC_CAP_UHS_SDR25",
			 "MMC_CAP_UHS_SDR50",
			 "MMC_CAP_UHS_SDR104",
			 "MMC_PM_KEEP_POWER",
			 "MMC_CAP_SDIO_IRQ";
		f_min = <400000>;
		f_max = <200000000>;
	};
};

&nand {
	status = "disabled";
	plat-names = "bootloader","nandnormal";
	plat-num = <2>;
	plat-part-0 = <&bootloader>;
	plat-part-1 = <&nandnormal>;
	bootloader: bootloader{
		enable_pad ="ce0";
		busy_pad = "rb0";
		timming_mode = "mode5";
		bch_mode = "bch8_1k";
		t_rea = <20>;
		t_rhoh = <15>;
		chip_num = <1>;
		part_num = <0>;
		rb_detect = <1>;
	};
	nandnormal: nandnormal{
		enable_pad ="ce0";
		busy_pad = "rb0";
		timming_mode = "mode5";
		bch_mode = "bch8_1k";
		plane_mode = "twoplane";
		t_rea = <20>;
		t_rhoh = <15>;
		chip_num = <2>;
		part_num = <3>;
		partition = <&nand_partitions>;
		rb_detect = <1>;
	};
	nand_partitions:nand_partition{
		/*
		 * if bl_mode is 1, tpl size was generate by
		 * fip_copies * fip_size which
		 * will not skip bad when calculating
		 * the partition size;
		 *
		 * if bl_mode is 0,
		 * tpl partition must be comment out.
		 */
		tpl{
			offset=<0x0 0x0>;
			size=<0x0 0x0>;
		};
		logo{
			offset=<0x0 0x0>;
			size=<0x0 0x200000>;
		};
		recovery{
			offset=<0x0 0x0>;
			size=<0x0 0x1000000>;
		};
		boot{
			offset=<0x0 0x0>;
			size=<0x0 0x1000000>;
		};
		system{
			offset=<0x0 0x0>;
			size=<0x0 0x4000000>;
		};
		data{
			offset=<0xffffffff 0xffffffff>;
			size=<0x0 0x0>;
		};
	};
};
&dwc3 {
	status = "okay";
};

&usb2_phy_v2 {
	status = "okay";
	portnum = <2>;
	gpio-vbus-power = "GPIOA_6";
	gpios = <&gpio GPIOA_6 GPIO_ACTIVE_HIGH>;
};

&usb3_phy_v2 {
	status = "okay";
	portnum = <1>;
	otg = <1>;
};

&dwc2_a {
	status = "okay";
	/** 0: normal, 1: otg+dwc3 host only, 2: otg+dwc3 device only*/
	controller-type = <2>;
};
&ethmac {
        status = "okay";
        pinctrl-names = "external_eth_pins";
        pinctrl-0 = <&external_eth_pins>;
        mc_val = <0x1629>;
        cali_val = <0x60000>;
        rx_delay = <1>;
        auto_cali_idx = <0>;

        internal_phy=<0>;
};

&uart_A {
	status = "okay";
};

&uart_C {
    status = "okay";
};

&pcie_A {
	reset-gpio = <&gpio GPIOA_8 GPIO_ACTIVE_HIGH>;
	status = "disable";
};

&saradc {
	status = "okay";
};

